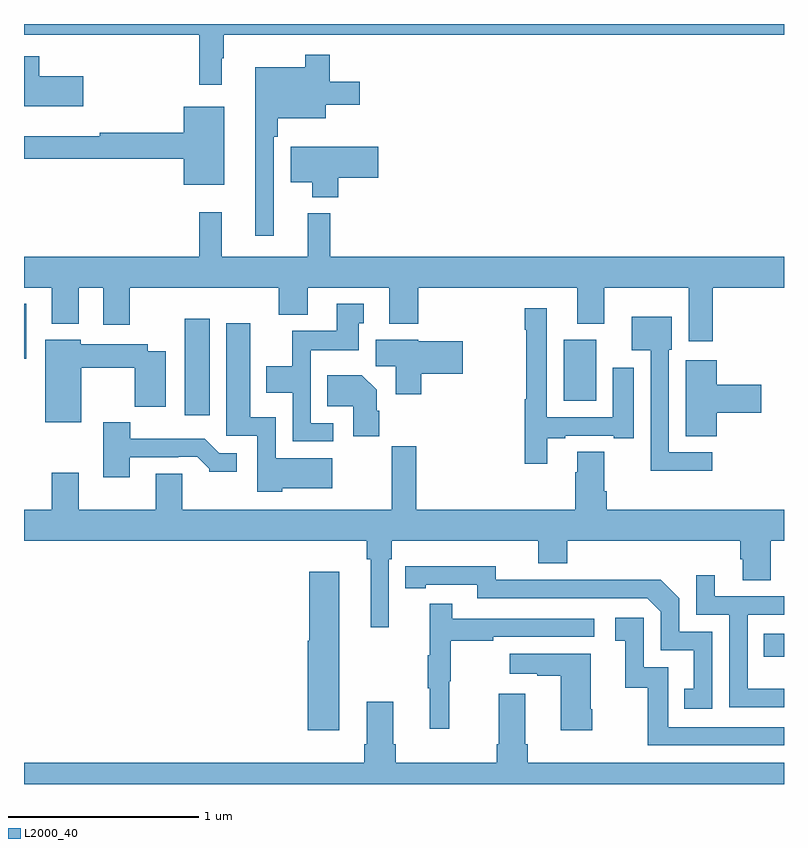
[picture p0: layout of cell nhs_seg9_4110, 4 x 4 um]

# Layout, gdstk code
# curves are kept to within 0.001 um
import gdstk
lib = gdstk.Library(unit=1e-6, precision=1e-09)
def R(c, l, rs):  # rectangles x0, y0, x1, y1
    for r in rs: c.add(gdstk.rectangle(r[:2], r[2:], *l))
def P(c, l, *ps):  # polygons
    for p in ps: c.add(gdstk.Polygon(p, *l))
L2000_40 = (2000, 40)

nhs_seg9_4110 = lib.new_cell('nhs_seg9_4110')
R(nhs_seg9_4110, L2000_40, [(350.893,1169.169,351,1169.292), (347.846,1170.441,347.977,1170.949), (349.841,1170.518,350.011,1170.838), (347,1170.738,347.011,1171.027)])
P(nhs_seg9_4110, L2000_40, [(348.04,1172.321),(348.052,1172.321),(348.052,1172.444),(351,1172.444),(351,1172.5),(347,1172.5),(347,1172.444),(347.923,1172.444),(347.923,1172.181),(348.04,1172.181)],
  [(348.315,1171.907),(348.335,1171.907),(348.335,1172.003),(348.589,1172.003),(348.589,1172.075),(348.766,1172.075),(348.766,1172.197),(348.608,1172.197),(348.608,1172.338),(348.48,1172.338),(348.48,1172.272),(348.218,1172.272),(348.218,1171.386),(348.315,1171.386)],
  [(347.311,1172.224),(347.08,1172.224),(347.08,1172.329),(347,1172.329),(347,1172.066),(347.311,1172.066)],
  [(348.055,1172.065),(347.84,1172.065),(347.84,1171.928),(347.398,1171.928),(347.398,1171.909),(347,1171.909),(347,1171.792),(347.84,1171.792),(347.84,1171.655),(348.055,1171.655)],
  [(348.653,1171.69),(348.865,1171.69),(348.865,1171.855),(348.404,1171.855),(348.404,1171.667),(348.518,1171.667),(348.518,1171.589),(348.653,1171.589)],
  [(350.624,1171.112),(351,1171.112),(351,1171.276),(348.611,1171.276),(348.611,1171.504),(348.494,1171.504),(348.494,1171.276),(348.041,1171.276),(348.041,1171.51),(347.923,1171.51),(347.923,1171.276),(347,1171.276),(347,1171.112),(347.147,1171.112),(347.147,1170.923),(347.287,1170.923),(347.287,1171.112),(347.417,1171.112),(347.417,1170.918),(347.557,1170.918),(347.557,1171.112),(348.341,1171.112),(348.341,1170.971),(348.493,1170.971),(348.493,1171.112),(348.923,1171.112),(348.923,1170.923),(349.076,1170.923),(349.076,1171.112),(349.913,1171.112),(349.913,1170.923),(350.053,1170.923),(350.053,1171.112),(350.498,1171.112),(350.498,1170.831),(350.624,1170.831)],
  [(348.628,1170.399),(348.51,1170.399),(348.51,1170.782),(348.763,1170.782),(348.763,1170.924),(348.787,1170.924),(348.787,1171.027),(348.647,1171.027),(348.647,1170.886),(348.412,1170.886),(348.412,1170.7),(348.275,1170.7),(348.275,1170.56),(348.414,1170.56),(348.414,1170.303),(348.628,1170.303)],
  [(349.753,1170.321),(349.849,1170.321),(349.849,1170.333),(350.105,1170.333),(350.105,1170.321),(350.209,1170.321),(350.209,1170.691),(350.099,1170.691),(350.099,1170.429),(349.752,1170.429),(349.752,1171.003),(349.636,1171.003),(349.636,1170.89),(349.644,1170.89),(349.644,1170.526),(349.636,1170.526),(349.636,1170.186),(349.753,1170.186)],
  [(350.623,1170.246),(350.394,1170.246),(350.394,1170.786),(350.41,1170.786),(350.41,1170.958),(350.198,1170.958),(350.198,1170.782),(350.298,1170.782),(350.298,1170.149),(350.623,1170.149)],
  [(348.36,1170.056),(348.622,1170.056),(348.622,1170.214),(348.324,1170.214),(348.324,1170.43),(348.19,1170.43),(348.19,1170.925),(348.065,1170.925),(348.065,1170.333),(348.228,1170.333),(348.228,1170.038),(348.36,1170.038)],
  [(349.091,1170.659),(349.309,1170.659),(349.309,1170.829),(349.074,1170.829),(349.074,1170.838),(348.851,1170.838),(348.851,1170.7),(348.956,1170.7),(348.956,1170.552),(349.091,1170.552)],
  [(347.302,1170.692),(347.584,1170.692),(347.584,1170.485),(347.746,1170.485),(347.746,1170.778),(347.65,1170.778),(347.65,1170.814),(347.298,1170.814),(347.298,1170.838),(347.111,1170.838),(347.111,1170.404),(347.302,1170.404)],
  [(350.645,1170.455),(350.881,1170.455),(350.881,1170.602),(350.645,1170.602),(350.645,1170.73),(350.483,1170.73),(350.483,1170.331),(350.645,1170.331)],
  [(348.869,1170.464),(348.856,1170.464),(348.856,1170.574),(348.778,1170.652),(348.595,1170.652),(348.595,1170.488),(348.734,1170.488),(348.734,1170.33),(348.869,1170.33)],
  [(347.557,1170.219),(347.813,1170.219),(347.813,1170.222),(347.912,1170.222),(347.976,1170.158),(347.976,1170.143),(348.121,1170.143),(348.121,1170.24),(348.027,1170.24),(347.951,1170.316),(347.56,1170.316),(347.56,1170.403),(347.417,1170.403),(347.417,1170.114),(347.557,1170.114)],
  [(348.921,1169.684),(348.935,1169.684),(348.935,1169.78),(349.706,1169.78),(349.706,1169.663),(349.859,1169.663),(349.859,1169.78),(350.771,1169.78),(350.771,1169.682),(350.783,1169.682),(350.783,1169.572),(350.931,1169.572),(350.931,1169.78),(351,1169.78),(351,1169.944),(350.066,1169.944),(350.066,1170.04),(350.053,1170.04),(350.053,1170.248),(349.913,1170.248),(349.913,1170.14),(349.901,1170.14),(349.901,1169.944),(349.064,1169.944),(349.064,1170.277),(348.936,1170.277),(348.936,1169.944),(347.833,1169.944),(347.833,1170.134),(347.693,1170.134),(347.693,1169.944),(347.287,1169.944),(347.287,1170.139),(347.147,1170.139),(347.147,1169.944),(347,1169.944),(347,1169.78),(348.805,1169.78),(348.805,1169.684),(348.824,1169.684),(348.824,1169.325),(348.921,1169.325)],
  [(350.622,1169.301),(350.448,1169.301),(350.448,1169.478),(350.35,1169.576),(349.942,1169.576),(349.942,1169.574),(349.482,1169.574),(349.482,1169.647),(349.006,1169.646),(349.006,1169.53),(349.114,1169.53),(349.114,1169.55),(349.386,1169.55),(349.386,1169.478),(350.28,1169.478),(350.352,1169.406),(350.352,1169.205),(350.525,1169.205),(350.525,1169.001),(350.476,1169.001),(350.476,1168.896),(350.622,1168.896)],
  [(348.658,1169.617),(348.5,1169.617),(348.5,1169.253),(348.494,1169.253),(348.494,1168.782),(348.658,1168.782)],
  [(351,1169.002),(350.808,1169.002),(350.808,1169.391),(351,1169.391),(351,1169.487),(350.635,1169.487),(350.635,1169.599),(350.538,1169.599),(350.538,1169.391),(350.712,1169.391),(350.712,1168.905),(351,1168.905)],
  [(349.238,1169.04),(349.246,1169.04),(349.246,1169.254),(349.469,1169.254),(349.469,1169.274),(350.002,1169.274),(350.002,1169.37),(349.253,1169.37),(349.253,1169.449),(349.136,1169.449),(349.136,1169.177),(349.125,1169.177),(349.125,1169.003),(349.136,1169.003),(349.136,1168.791),(349.238,1168.791)],
  [(351,1168.8),(350.391,1168.8),(350.391,1169.115),(350.262,1169.115),(350.262,1169.374),(350.112,1169.374),(350.112,1169.253),(350.165,1169.253),(350.165,1169.007),(350.283,1169.007),(350.283,1168.704),(351,1168.704)],
  [(349.992,1168.894),(349.984,1168.894),(349.984,1169.185),(349.557,1169.185),(349.557,1169.081),(349.7,1169.081),(349.7,1169.071),(349.826,1169.071),(349.826,1168.782),(349.992,1168.782)],
  [(351,1168.612),(349.652,1168.612),(349.652,1168.708),(349.639,1168.708),(349.639,1168.975),(349.499,1168.975),(349.499,1168.708),(349.487,1168.708),(349.487,1168.612),(348.956,1168.612),(348.956,1168.708),(348.943,1168.708),(348.943,1168.933),(348.803,1168.933),(348.803,1168.708),(348.791,1168.708),(348.791,1168.612),(347,1168.612),(347,1168.5),(351,1168.5)])

lib.write_gds('nhs_seg9_4110.gds')
